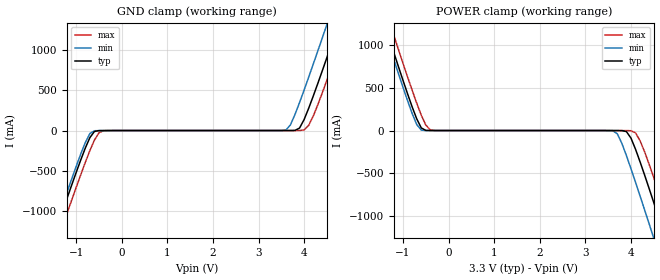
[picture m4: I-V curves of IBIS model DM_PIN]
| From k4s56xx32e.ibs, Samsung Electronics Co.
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|   MODEL : DM_PIN
[Model]   DM_PIN
Model_type   Input
Vinl   = 0.800V
Vinh   = 2.000V
|   typ   min   max
C_comp   2.800pF   2.790pF   2.810pF
[Voltage Range]   3.300V   3.000V   3.600V
[Temperature Range]   25.0   85.0   0.0
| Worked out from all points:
|   GND clamp passes 1 mA (typ) near -0.47 V on its own axis
|   POWER clamp passes 1 mA (typ) near -0.48 V on its own axis
[GND Clamp]
|   Voltage   I(typ)   I(min)   I(max)
-3.3V     -4.36A     -4.287A    -4.542A
-1.6V     -1.501A    -1.425A    -1.688A
-1.4V     -1.17A     -1.094A    -1.358A
-700mV    -88.63mA   -37.84mA   -250.6mA
-400mV    -608.7uA   -540.1uA   -2.358mA
3.6V      708.1nA    5.029mA    189.4nA
4V        136.1mA    503.6mA    7.124mA
4.2V      427.6mA    825.7mA    179.1mA
4.5V      907.5mA    1.32A      626mA
4.7V      1.236A     1.652A     946.1mA
4.9V      1.567A     1.987A     1.272A
6.6V      4.428A     4.857A     4.116A
[POWER Clamp]
|   Voltage   I(typ)   I(min)   I(max)
-3.3V     4.428A     4.349A     4.623A
-1.5V     1.401A     1.32A      1.602A
-1.3V     1.071A     989.4mA    1.272A
-700mV    136.1mA    70.17mA    319.5mA
-400mV    25.74uA    1.351uA    7.159mA
3.6V      -447.9uA   -3.011mA   -54.27uA
4V        -88.63mA   -446.6mA   -2.358mA
4.2V      -366.7mA   -766.4mA   -119.2mA
4.5V      -842.6mA   -1.259A    -550.8mA
4.7V      -1.17A     -1.591A    -868.5mA
4.9V      -1.501A    -1.926A    -1.194A
6.6V      -4.36A     -4.795A    -4.035A
